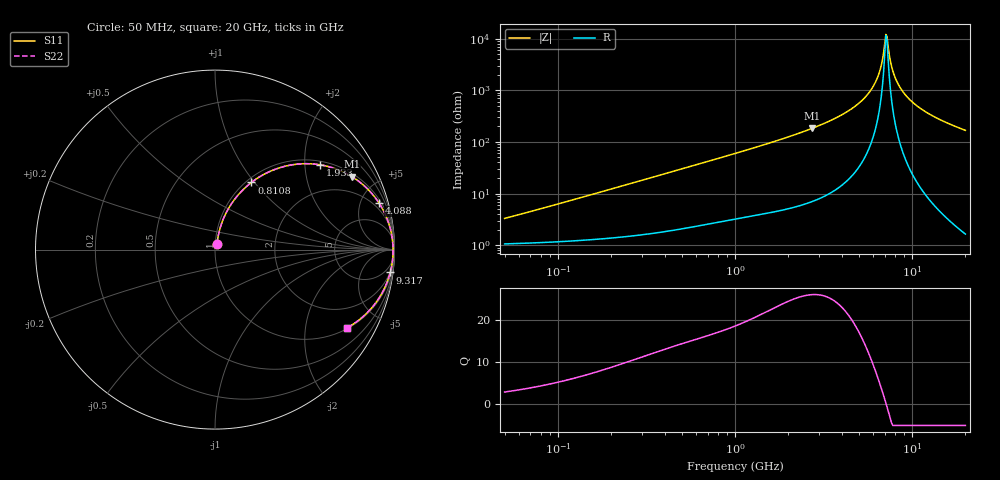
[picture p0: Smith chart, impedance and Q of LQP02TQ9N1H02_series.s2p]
!Murata Part Number: LQP02TQ9N1H02
!These Parameters are Measured in Series Mode Connection
!  o--[Z]--o
!Port1  Port2
!  o-------o
!Freq. Start=50[MHz] Stop=20[GHz], 401[Steps]
# Hz S RI R 50
!Freq.(Hz) S11(Real) S11(Imag) S21(Real) S21(Imag) S12(Real) S12(Imag) S22(Real) S22(Imag)
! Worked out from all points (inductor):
!   401 points, 50 MHz to 20 GHz, reference 50 ohm
!   read as one part in series: L = 9.91 nH near 51.52 MHz
!   highest Q = 26.1 at 2.728 GHz (marker M1), where L = 10.7 nH
!   self-resonance near 7.115 GHz
!   S11 on the Smith chart (normalised r, x): 50 MHz: 1.02, +0.06; 810.8 MHz: 1.06, +0.97; 1.933 GHz: 1.10, +2.40; 4.088 GHz: 1.30, +6.94; 9.317 GHz: 2, -15; 20 GHz: 1.03, -3.35
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5e7  0.0114 0.0306  0.9886 -0.0306  0.9886 -0.0306  0.0114 0.0306
1.364002e8  0.019 0.081  0.981 -0.081  0.981 -0.081  0.019 0.081
3.721004e8  0.0626 0.2061  0.9374 -0.2061  0.9374 -0.2061  0.0626 0.2061
8.108264e8  0.2029 0.3742  0.7971 -0.3742  0.7971 -0.3742  0.2029 0.3742
1e9  0.2732 0.4196  0.7268 -0.4196  0.7268 -0.4196  0.2732 0.4196
1.932977e9  0.5873 0.4722  0.4127 -0.4722  0.4127 -0.4722  0.5873 0.4722
2.728004e9  0.762 0.4072  0.238 -0.4072  0.238 -0.4072  0.762 0.4072
4.087748e9  0.9138 0.2596  0.0862 -0.2596  0.0862 -0.2596  0.9138 0.2596
5.117541e9  0.9637 0.159  0.0363 -0.159  0.0363 -0.159  0.9637 0.159
5.944466e9  0.9831 0.0886  0.0169 -0.0886  0.0169 -0.0886  0.9831 0.0886
6.503449e9  0.9896 0.0456  0.0104 -0.0456  0.0104 -0.0456  0.9896 0.0456
6.701223e9  0.9908 0.0313  0.00916 -0.0313  0.00916 -0.0313  0.9908 0.0313
7.009217e9  0.992 0.00965  0.00804 -0.00965  0.00804 -0.00965  0.992 0.00965
7.114996e9  0.9921 0.00244  0.00789 -0.00244  0.00789 -0.00244  0.9921 0.00244
7.222371e9  0.9922 -0.00478  0.00783 0.00478  0.00783 0.00478  0.9922 -0.00478
7.442007e9  0.9919 -0.0192  0.00805 0.0192  0.00805 0.0192  0.9919 -0.0192
7.668323e9  0.9913 -0.0336  0.0087 0.0336  0.0087 0.0336  0.9913 -0.0336
8.020766e9  0.9895 -0.0553  0.0105 0.0553  0.0105 0.0553  0.9895 -0.0553
8.516016e9  0.9856 -0.0841  0.0144 0.0841  0.0144 0.0841  0.9856 -0.0841
9.316812e9  0.9766 -0.1271  0.0234 0.1271  0.0234 0.1271  0.9766 -0.1271
1.257102e10  0.917 -0.2653  0.083 0.2653  0.083 0.2653  0.917 -0.2653
2e10  0.735 -0.4364  0.265 0.4364  0.265 0.4364  0.735 -0.4364
